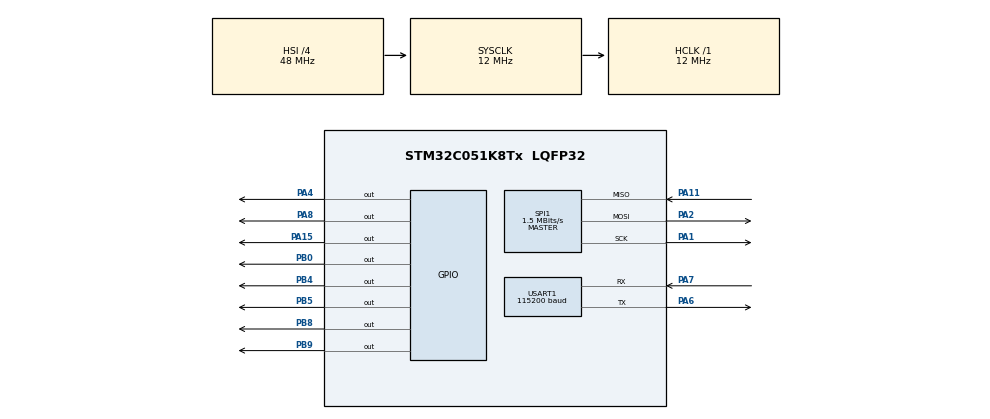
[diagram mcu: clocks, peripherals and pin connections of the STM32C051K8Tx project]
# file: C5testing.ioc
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Mcu.Family=STM32C0
Mcu.Name=STM32C051K8Tx
Mcu.Package=LQFP32
NVIC.SPI1_IRQn=true\:0\:0\:false\:false\:true\:true\:true\:true
NVIC.USART1_IRQn=true\:0\:0\:false\:false\:true\:true\:true\:true
PA1.GPIO_PuPd=GPIO_PULLDOWN
PA1.GPIO_Speed=GPIO_SPEED_FREQ_HIGH
PA1.Mode=Full_Duplex_Master
PA1.Signal=SPI1_SCK
PA11\ [PA9].GPIO_PuPd=GPIO_NOPULL
PA11\ [PA9].GPIO_Speed=GPIO_SPEED_FREQ_HIGH
PA11\ [PA9].Mode=Full_Duplex_Master
PA11\ [PA9].Signal=SPI1_MISO
PA15.GPIO_PuPd=GPIO_PULLUP
PA15.PinState=GPIO_PIN_SET
PA15.Signal=GPIO_Output
PA2.GPIO_PuPd=GPIO_PULLDOWN
PA2.GPIO_Speed=GPIO_SPEED_FREQ_HIGH
PA2.Mode=Full_Duplex_Master
PA2.Signal=SPI1_MOSI
PA4.GPIO_PuPd=GPIO_PULLUP
PA4.PinState=GPIO_PIN_SET
PA4.Signal=GPIO_Output
PA6.Mode=Asynchronous
PA6.Signal=USART1_TX
PA7.Mode=Asynchronous
PA7.Signal=USART1_RX
PA8.GPIO_PuPd=GPIO_PULLUP
PA8.PinState=GPIO_PIN_SET
PA8.Signal=GPIO_Output
PB0.GPIO_PuPd=GPIO_PULLUP
PB0.PinState=GPIO_PIN_SET
PB0.Signal=GPIO_Output
PB4.GPIO_PuPd=GPIO_PULLUP
PB4.PinState=GPIO_PIN_SET
PB4.Signal=GPIO_Output
PB5.GPIO_PuPd=GPIO_PULLUP
PB5.PinState=GPIO_PIN_SET
PB5.Signal=GPIO_Output
PB8.GPIO_PuPd=GPIO_PULLUP
PB8.PinState=GPIO_PIN_SET
PB8.Signal=GPIO_Output
PB9.GPIO_PuPd=GPIO_PULLUP
PB9.PinState=GPIO_PIN_SET
PB9.Signal=GPIO_Output
ProjectManager.HeapSize=0x200
ProjectManager.StackSize=0x400
ProjectManager.TargetToolchain=STM32CubeIDE
RCC.ADCFreq_Value=12000000
RCC.AHBFreq_Value=12000000
RCC.CortexFreq_Value=12000000
RCC.EXTERNAL_CLOCK_VALUE=12288000
RCC.HCLKFreq_Value=12000000
RCC.HSE_VALUE=8000000
RCC.HSI_VALUE=48000000
RCC.LSE_VALUE=32768
RCC.SYSCLKFreq_VALUE=12000000
SPI1.BaudRatePrescaler=SPI_BAUDRATEPRESCALER_8
SPI1.CLKPhase=SPI_PHASE_1EDGE
SPI1.CLKPolarity=SPI_POLARITY_LOW
SPI1.CalculateBaudRate=1.5 MBits/s
SPI1.DataSize=SPI_DATASIZE_8BIT
SPI1.Direction=SPI_DIRECTION_2LINES
SPI1.Mode=SPI_MODE_MASTER
SPI1.NSSPMode=SPI_NSS_PULSE_DISABLE
SPI1.VirtualType=VM_MASTER
USART1.BaudRate=115200
USART1.VirtualMode-Asynchronous=VM_ASYNC
board=custom

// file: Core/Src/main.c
/* USER CODE BEGIN Header */
/* USER CODE END Header */
#include "main.h"
#include "spi.h"
#include "usart.h"
#include "gpio.h"

/* USER CODE BEGIN Includes */
#include "barometer.h"
#include "imu.h"
#include "magnetometer.h"
#include "bmi.h"
#include "temperature.h"
#include "filters.h"
#include <string.h>
/* USER CODE END Includes */

/* USER CODE BEGIN PTD */

/**
 * @brief  Binary telemetry packet transmitted over USART1.
 *
 * Layout (75 bytes, little-endian, packed):
 *   [0x00] header    : uint16_t     — sync word 0xAA55 for receiver framing
 *   [0x02] altitude  : int32_t      — cm above reference (barometer)
 *   [0x06] pressure  : int32_t      — Pa (same ADC cycle as altitude, no extra cost)
 *   [0x0A] imu16_ax  : float        — ±16g IMU  X accel (g)
 *   [0x0E] imu16_ay  : float
 *   [0x12] imu16_az  : float
 *   [0x16] imu4_ax   : float        — ±4g  IMU  X accel (g)
 *   [0x1A] imu4_ay   : float
 *   [0x1E] imu4_az   : float
 *   [0x22] mag_x     : float        — magnetometer X (Gauss)
 *   [0x26] mag_y     : float
 *   [0x2A] mag_z     : float
 *   [0x2E] bmi_ax    : float        — backup IMU X accel (g)
 *   [0x32] bmi_ay    : float
 *   [0x36] bmi_az    : float
 *   [0x3A] bmi_gx    : float        — backup IMU X gyro (dps)
 *   [0x3E] bmi_gy    : float
 *   [0x42] bmi_gz    : float
 *   [0x46] ext_temp  : float        — TMP127-Q1 temperature (°C)
 *   [0x4A] checksum  : uint8_t      — XOR of bytes [0x02]..[0x49]
 *
 * Total: 75 bytes.
 * At 460800 baud (8N1, 10 bits/byte) one packet takes ~1.63 ms to transmit.
 */
typedef struct __attribute__((packed)) {
    uint16_t header;      /* always 0xAA55                     */
    int32_t  altitude;    /* cm                                */
    int32_t pressure;
    float    imu16_ax;    /* g                                 */
    float    imu16_ay;
    float    imu16_az;
    float    imu4_ax;     /* g                                 */
    float    imu4_ay;
    float    imu4_az;
    float    mag_x;       /* Gauss                             */
    float    mag_y;
    float    mag_z;
    float    bmi_ax;      /* g                                 */
    float    bmi_ay;
    float    bmi_az;
    float    bmi_gx;      /* dps                               */
    float    bmi_gy;
    float    bmi_gz;
    float    ext_temp;    /* °C                                */
    uint8_t  checksum;    /* XOR of all bytes after header     */
} SensorPacket_t;

/* USER CODE END PTD */

/* USER CODE BEGIN PD */
#define PKT_HEADER      0xAA55u
#define UART_TX_TIMEOUT 10u     /* ms — 75 bytes @ 460800 baud = 1.63 ms        */

/*
 * MMC5983MA runs in continuous-measurement mode at 200 Hz ODR (configured in
 * MMC_init).  MMC_getMag() is a plain 8-byte SPI burst read with no trigger
 * command and no blocking status poll.
 *
 * MMC_DIVIDER gates the read to every Nth loop iteration.  The last-known
 * mag values are held in the packet struct and retransmitted on skipped loops.
 *
 * Timing budget (12 MHz SYSCLK, SPI ÷8 = 1.5 MHz, UART 460800):
 *   Barometer_calculate()  : 2 × HAL_Delay(1) + SPI reads  ≈ 2.1 ms
 *   getAltitude/Pressure   : cached returns (calculate=false) ≈ 0.0 ms
 *   IMU ×2 burst reads     : 2 × 8 bytes @ 1.5 MHz         ≈ 0.05 ms
 *   BMI270 burst read      : 14 bytes @ 1.5 MHz             ≈ 0.08 ms
 *   TMP127 transaction     : 4 bytes @ 1.5 MHz              ≈ 0.02 ms
 *   MMC burst read (÷4)    : 8 bytes amortised              ≈ 0.005 ms
 *   UART TX 75 bytes       : 75 × 10 bits / 460800          ≈ 1.63 ms
 *   ─────────────────────────────────────────────────────────────────
 *   Total                                                   ≈ 3.88 ms
 *   Loop rate                                               ≈ 258 Hz
 *   Effective mag rate     : 258 / MMC_DIVIDER              ≈  64 Hz
 */
#define MMC_DIVIDER     4u      /* mag updated at ~loop_rate/4 ≈ 64 Hz         */
/* USER CODE END PD */

/* USER CODE BEGIN PV */
IMU_Handle imu_16g;  /* high-range IMU  — CS on GPIOA GPIO_PIN_15 */
IMU_Handle imu_4g;   /* low-range  IMU  — CS on GPIOB GPIO_PIN_4  */

MMC_Handle mag;      /* MMC5983MA magnetometer */
BMI_Handle bmi;      /* BMI270 backup IMU      */
TMP127_Handle tmp;   /* TMP127-Q1 temperature  */

SensorPacket_t pkt;
static uint32_t mmc_tick = 0u;   /* counts main-loop iterations for MMC divider */
static float    alt_ref   = 0.0f; /* ground-level reference subtracted from altitude */

/* ── Sensor filters ──────────────────────────────────────────────────────── */
static Filter1P_t filt_alt;
static Filter1P_t filt_pres;
static Filter1P_t filt_i16ax, filt_i16ay, filt_i16az;
static Filter1P_t filt_i4ax,  filt_i4ay,  filt_i4az;
static Filter1P_t filt_mx,    filt_my,    filt_mz;
static Filter1P_t filt_bax,   filt_bay,   filt_baz;
static Filter1P_t filt_bgx,   filt_bgy,   filt_bgz;
static Filter1P_t filt_temp;
/* USER CODE END PV */

void SystemClock_Config(void);

/* USER CODE BEGIN 0 */

/**
 * @brief  Compute XOR checksum over the payload region of the packet.
 *         Covers every byte between the header and the checksum field.
 */
static uint8_t packet_checksum(const SensorPacket_t *p)
{
    const uint8_t *start = (const uint8_t *)p + sizeof(p->header);
    const uint8_t *end   = (const uint8_t *)&p->checksum;
    uint8_t xor = 0u;
    for (const uint8_t *b = start; b < end; b++) {
        xor ^= *b;
    }
    return xor;
}

/* USER CODE END 0 */

int main(void)
{

  /* MCU Configuration--------------------------------------------------------*/

  /* Reset of all peripherals, Initializes the Flash interface and the Systick. */
  HAL_Init();

  /* Configure the system clock */
  SystemClock_Config();

  /* Initialize all configured peripherals */
  MX_GPIO_Init();
  MX_SPI1_Init();
  MX_USART1_UART_Init();
  /* USER CODE BEGIN 2 */

  Barometer_init();
  IMU_init(&imu_16g, GPIOA, GPIO_PIN_15, ACCEL_FS_16G);
  IMU_init(&imu_4g,  GPIOB, GPIO_PIN_4,  ACCEL_FS_4G);

  /* Magnetometer — update CS pin to match schematic */
  mag.cs_port = GPIOA;
  mag.cs_pin  = GPIO_PIN_4;
  MMC_init(&mag);

  /* Backup IMU (BMI270) — update CS pin to match schematic */
  BMI_init(&bmi, GPIOB, GPIO_PIN_9, BMI_ACC_FS_8G, BMI_GYR_FS_2000DPS);

  /* External temperature sensor (TMP127-Q1) — update CS pin to match schematic */
  TMP127_init(&tmp, GPIOA, GPIO_PIN_8);

  /* ── Init filters ──────────────────────────────────────────────────────── */
  Filter1P_init(&filt_alt,  FILT_ALPHA_ALT);
  Filter1P_init(&filt_pres, FILT_ALPHA_ALT);

  Filter1P_init(&filt_i16ax, FILT_ALPHA_ACCEL);
  Filter1P_init(&filt_i16ay, FILT_ALPHA_ACCEL);
  Filter1P_init(&filt_i16az, FILT_ALPHA_ACCEL);

  Filter1P_init(&filt_i4ax, FILT_ALPHA_ACCEL);
  Filter1P_init(&filt_i4ay, FILT_ALPHA_ACCEL);
  Filter1P_init(&filt_i4az, FILT_ALPHA_ACCEL);

  Filter1P_init(&filt_mx, FILT_ALPHA_MAG);
  Filter1P_init(&filt_my, FILT_ALPHA_MAG);
  Filter1P_init(&filt_mz, FILT_ALPHA_MAG);

  Filter1P_init(&filt_bax, FILT_ALPHA_ACCEL);
  Filter1P_init(&filt_bay, FILT_ALPHA_ACCEL);
  Filter1P_init(&filt_baz, FILT_ALPHA_ACCEL);

  Filter1P_init(&filt_bgx, FILT_ALPHA_GYRO);
  Filter1P_init(&filt_bgy, FILT_ALPHA_GYRO);
  Filter1P_init(&filt_bgz, FILT_ALPHA_GYRO);

  Filter1P_init(&filt_temp, FILT_ALPHA_TEMP);

  /* ── Altitude zero calibration ─────────────────────────────────────────── */
  {
      float sum = 0.0f;
      for (uint32_t i = 0u; i < 10u; i++) {
          sum += Barometer_getAltitude(true);
          HAL_Delay(10);
      }
      alt_ref = sum / 10.0f;
  }

  /* Pre-fill the header — it never changes */
  pkt.header = PKT_HEADER;

  /* USER CODE END 2 */

  /* Infinite loop */
  /* USER CODE BEGIN WHILE */
  while (1)
  {
      /* ── Read all sensors ──────────────────────────────────────────────── */

	  pkt.altitude = (int32_t)Filter1P_update(&filt_alt,  Barometer_getAltitude(true) - alt_ref);
	  pkt.pressure = (int32_t)Filter1P_update(&filt_pres, (float)Barometer_getPressure(false));

	  float ax, ay, az;

	  IMU_getAccel(&imu_16g, &ax, &ay, &az);
	  pkt.imu16_ax = Filter1P_update(&filt_i16ax, ax);
	  pkt.imu16_ay = Filter1P_update(&filt_i16ay, ay);
	  pkt.imu16_az = Filter1P_update(&filt_i16az, az);

	  IMU_getAccel(&imu_4g, &ax, &ay, &az);
	  pkt.imu4_ax = Filter1P_update(&filt_i4ax, ax);
	  pkt.imu4_ay = Filter1P_update(&filt_i4ay, ay);
	  pkt.imu4_az = Filter1P_update(&filt_i4az, az);

	  float mx, my, mz;
	  if (++mmc_tick >= MMC_DIVIDER) {
	      mmc_tick = 0u;
	      MMC_getMag(&mag, &mx, &my, &mz);
	      pkt.mag_x = Filter1P_update(&filt_mx, mx);
	      pkt.mag_y = Filter1P_update(&filt_my, my);
	      pkt.mag_z = Filter1P_update(&filt_mz, mz);
	  }

	  float gx, gy, gz;
	  BMI_getAllMotion(&bmi, &ax, &ay, &az, &gx, &gy, &gz);
	  pkt.bmi_ax = Filter1P_update(&filt_bax, ax);
	  pkt.bmi_ay = Filter1P_update(&filt_bay, ay);
	  pkt.bmi_az = Filter1P_update(&filt_baz, az);
	  pkt.bmi_gx = Filter1P_update(&filt_bgx, gx);
	  pkt.bmi_gy = Filter1P_update(&filt_bgy, gy);
	  pkt.bmi_gz = Filter1P_update(&filt_bgz, gz);

	  pkt.ext_temp = Filter1P_update(&filt_temp, TMP127_getTemp(&tmp));

      /* ── Seal and transmit ─────────────────────────────────────────────── */
      pkt.checksum = packet_checksum(&pkt);

      HAL_UART_Transmit(&huart1, (uint8_t *)&pkt, sizeof(pkt), UART_TX_TIMEOUT);
      HAL_Delay(20);
  }
    /* USER CODE END WHILE */

}

void SystemClock_Config(void)
{
  RCC_OscInitTypeDef RCC_OscInitStruct = {0};
  RCC_ClkInitTypeDef RCC_ClkInitStruct = {0};

  __HAL_FLASH_SET_LATENCY(FLASH_LATENCY_0);

  /** Initializes the RCC Oscillators according to the specified parameters
  * in the RCC_OscInitTypeDef structure.
  */
  RCC_OscInitStruct.OscillatorType = RCC_OSCILLATORTYPE_HSI;
  RCC_OscInitStruct.HSIState = RCC_HSI_ON;
  RCC_OscInitStruct.HSIDiv = RCC_HSI_DIV4;
  RCC_OscInitStruct.HSICalibrationValue = RCC_HSICALIBRATION_DEFAULT;
  if (HAL_RCC_OscConfig(&RCC_OscInitStruct) != HAL_OK)
  {
    Error_Handler();
  }

  /** Initializes the CPU, AHB and APB buses clocks
  */
  RCC_ClkInitStruct.ClockType = RCC_CLOCKTYPE_HCLK|RCC_CLOCKTYPE_SYSCLK
                              |RCC_CLOCKTYPE_PCLK1;
  RCC_ClkInitStruct.SYSCLKSource = RCC_SYSCLKSOURCE_HSI;
  RCC_ClkInitStruct.SYSCLKDivider = RCC_SYSCLK_DIV1;
  RCC_ClkInitStruct.AHBCLKDivider = RCC_HCLK_DIV1;
  RCC_ClkInitStruct.APB1CLKDivider = RCC_APB1_DIV1;

  if (HAL_RCC_ClockConfig(&RCC_ClkInitStruct, FLASH_LATENCY_0) != HAL_OK)
  {
    Error_Handler();
  }
}

void Error_Handler(void)
{
}
